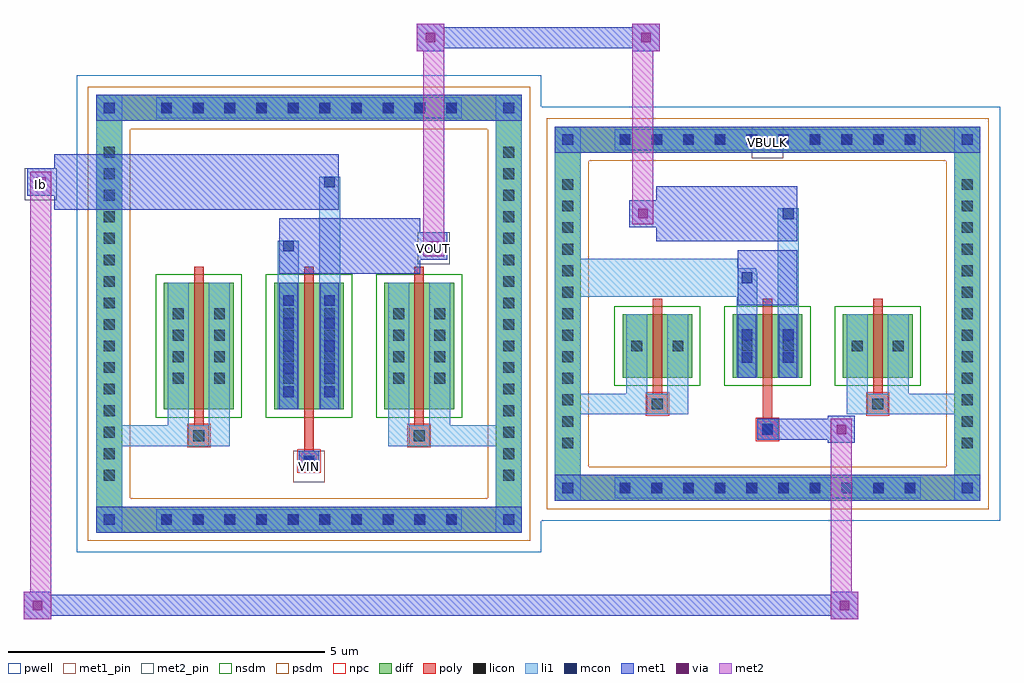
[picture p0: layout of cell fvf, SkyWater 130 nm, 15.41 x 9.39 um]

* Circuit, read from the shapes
.subckt fvf Ib VBULK VIN VOUT
XM1 n1 n1 n1 VSUBS sky130_fd_pr__nfet_01v8 w=2 l=0.15 m=2
XM2 Ib VIN VOUT VSUBS sky130_fd_pr__nfet_01v8 w=2 l=0.15
XM3 VBULK VBULK VBULK VSUBS sky130_fd_pr__nfet_01v8 w=1 l=0.15 m=2
XM4 VOUT Ib VBULK VSUBS sky130_fd_pr__nfet_01v8 w=1 l=0.15
.ends

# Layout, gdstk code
import gdstk
lib = gdstk.Library(unit=1e-6, precision=5e-09)
def R(c, l, rs):  # rectangles x0, y0, x1, y1
    for r in rs: c.add(gdstk.rectangle(r[:2], r[2:], *l))
def A(c, l, x, y, w, h, nx, ny, dx, dy):  # array of equal rectangles
    R(c, l, [(x+i*dx, y+j*dy, x+i*dx+w, y+j*dy+h) for i in range(nx) for j in range(ny)])
def P(c, l, *ps):  # polygons
    for p in ps: c.add(gdstk.Polygon(p, *l))
pwell = (64, 44)
diff = (65, 20)
poly = (66, 20)
licon = (66, 44)
li1 = (67, 20)
mcon = (67, 44)
met1_pin = (68, 16)
met1 = (68, 20)
via = (68, 44)
met2_pin = (69, 16)
met2 = (69, 20)
nsdm = (93, 44)
psdm = (94, 20)
npc = (95, 20)

fvf = lib.new_cell('fvf')
R(fvf, pwell, [(-3.67,-3.765,3.67,3.765), (3.57,-3.265,10.91,3.265)])
A(fvf, diff, -2.455, -3.455, 0.41, 0.41, 10, 2, 0.5, 6.5)
A(fvf, diff, 4.785, -2.955, 0.41, 0.41, 10, 2, 0.5, 5.5)
A(fvf, diff, -3.36, -2.755, 0.41, 0.41, 1, 16, 0, 0.34)
A(fvf, diff, 2.95, -2.755, 0.41, 0.41, 1, 16, 0, 0.34)
A(fvf, diff, 3.88, -2.245, 0.41, 0.41, 1, 13, 0, 0.34)
A(fvf, diff, 10.19, -2.245, 0.41, 0.41, 1, 13, 0, 0.34)
A(fvf, diff, -2.29, -1.51, 1.1, 2, 3, 1, 1.74, 0)
A(fvf, diff, 4.95, -1.01, 1.1, 1, 3, 1, 1.74, 0)
R(fvf, diff, [(-2.455,-3.455,2.455,-3.045), (4.785,-2.955,9.695,-2.545), (-3.36,-2.755,-2.95,2.755), (2.95,-2.755,3.36,2.755), (3.88,-2.245,4.29,2.245), (10.19,-2.245,10.6,2.245), (4.785,2.545,9.695,2.955), (-2.455,3.045,2.455,3.455)])
P(fvf, diff, [(3.36,3.455),(-3.36,3.455),(-3.36,-3.045),(-2.95,-3.045),(-2.95,3.045),(2.95,3.045),(2.95,-3.045),(-2.95,-3.045),(-3.36,-3.045),(-3.36,-3.455),(3.36,-3.455)],
  [(10.6,2.955),(3.88,2.955),(3.88,-2.545),(4.29,-2.545),(4.29,2.545),(10.19,2.545),(10.19,-2.545),(4.29,-2.545),(3.88,-2.545),(3.88,-2.955),(10.6,-2.955)])
A(fvf, poly, -1.815, -1.76, 0.15, 2.5, 3, 1, 1.74, 0)
A(fvf, poly, 5.425, -1.26, 0.15, 1.5, 3, 1, 1.74, 0)
R(fvf, poly, [(-0.165,-2.49,0.165,-2.16), (-0.165,-2.49,0.165,-2.16), (-0.075,-2.16,0.075,-1.76), (-1.905,-2.09,-1.575,-1.76), (-1.905,-2.09,-1.575,-1.76), (1.575,-2.09,1.905,-1.76), (1.575,-2.09,1.905,-1.76), (7.075,-1.99,7.405,-1.66), (7.075,-1.99,7.405,-1.66), (7.165,-1.66,7.315,-1.26), (5.335,-1.59,5.665,-1.26), (5.335,-1.59,5.665,-1.26), (8.815,-1.59,9.145,-1.26), (8.815,-1.59,9.145,-1.26)])
A(fvf, licon, -2.335, -3.335, 0.17, 0.17, 10, 2, 0.5, 6.5)
A(fvf, licon, 4.905, -2.835, 0.17, 0.17, 10, 2, 0.5, 5.5)
A(fvf, licon, -3.24, -2.635, 0.17, 0.17, 1, 16, 0, 0.34)
A(fvf, licon, 3.07, -2.635, 0.17, 0.17, 1, 16, 0, 0.34)
A(fvf, licon, 4, -2.125, 0.17, 0.17, 1, 13, 0, 0.34)
A(fvf, licon, 10.31, -2.125, 0.17, 0.17, 1, 13, 0, 0.34)
A(fvf, licon, -2.15, -1.105, 0.17, 0.17, 1, 4, 0, 0.34)
A(fvf, licon, -1.5, -1.105, 0.17, 0.17, 1, 4, 0, 0.34)
A(fvf, licon, -0.41, -1.105, 0.17, 0.17, 1, 4, 0, 0.34)
A(fvf, licon, 0.24, -1.105, 0.17, 0.17, 1, 4, 0, 0.34)
A(fvf, licon, 1.33, -1.105, 0.17, 0.17, 1, 4, 0, 0.34)
A(fvf, licon, 1.98, -1.105, 0.17, 0.17, 1, 4, 0, 0.34)
R(fvf, licon, [(-0.085,-2.41,0.085,-2.24), (-1.825,-2.01,-1.655,-1.84), (1.655,-2.01,1.825,-1.84), (7.155,-1.91,7.325,-1.74), (5.415,-1.51,5.585,-1.34), (8.895,-1.51,9.065,-1.34), (5.09,-0.595,5.26,-0.425), (5.74,-0.595,5.91,-0.425), (6.83,-0.595,7,-0.425), (7.48,-0.595,7.65,-0.425), (8.57,-0.595,8.74,-0.425), (9.22,-0.595,9.39,-0.425)])
A(fvf, li1, -2.415, -3.415, 0.33, 0.33, 10, 2, 0.5, 6.5)
A(fvf, li1, 4.825, -2.915, 0.33, 0.33, 10, 2, 0.5, 5.5)
A(fvf, li1, -3.32, -2.715, 0.33, 0.33, 1, 16, 0, 0.34)
A(fvf, li1, 2.99, -2.715, 0.33, 0.33, 1, 16, 0, 0.34)
A(fvf, li1, 3.92, -2.205, 0.33, 0.33, 1, 13, 0, 0.34)
A(fvf, li1, 10.23, -2.205, 0.33, 0.33, 1, 13, 0, 0.34)
A(fvf, li1, -0.41, -1.315, 0.17, 0.17, 1, 5, 0, 0.36)
A(fvf, li1, 0.24, -1.315, 0.17, 0.17, 1, 5, 0, 0.36)
A(fvf, li1, -2.23, -1.185, 0.33, 0.33, 1, 4, 0, 0.34)
A(fvf, li1, -1.58, -1.185, 0.33, 0.33, 1, 4, 0, 0.34)
A(fvf, li1, -0.49, -1.185, 0.33, 0.33, 1, 4, 0, 0.34)
A(fvf, li1, 0.16, -1.185, 0.33, 0.33, 1, 4, 0, 0.34)
A(fvf, li1, 1.25, -1.185, 0.33, 0.33, 1, 4, 0, 0.34)
A(fvf, li1, 1.9, -1.185, 0.33, 0.33, 1, 4, 0, 0.34)
R(fvf, li1, [(-3.36,-3.455,-2.95,-3.045), (2.95,-3.455,3.36,-3.045), (-2.415,-3.415,2.415,-3.085), (-3.24,-3.335,-3.07,-3.165), (-3.24,-3.335,-3.07,-3.165), (3.07,-3.335,3.24,-3.165), (3.07,-3.335,3.24,-3.165), (-3.36,-3.045,-2.95,3.045), (2.95,-3.045,3.36,3.045), (3.88,-2.955,4.29,-2.545), (10.19,-2.955,10.6,-2.545), (4.825,-2.915,9.655,-2.585), (4,-2.835,4.17,-2.665), (4,-2.835,4.17,-2.665), (10.31,-2.835,10.48,-2.665), (10.31,-2.835,10.48,-2.665), (3.88,-2.545,4.29,2.545), (10.19,-2.545,10.6,2.545), (-0.165,-2.49,0.165,-2.16), (-3.36,-2.09,-1.905,-1.76), (-2.23,-2.09,-1.905,-1.76), (-2.23,-2.09,-1.9,-1.51), (-1.905,-2.09,-1.575,-1.76), (-1.58,-2.09,-1.25,-1.51), (-1.575,-2.09,-1.25,-1.76), (1.25,-2.09,1.575,-1.76), (1.25,-2.09,1.58,-1.51), (1.575,-2.09,1.905,-1.76), (1.575,-2.09,3.36,-1.76), (1.9,-2.09,2.23,-1.51), (1.905,-2.09,2.23,-1.76), (7.075,-1.99,7.405,-1.66), (3.88,-1.59,5.335,-1.26), (5.01,-1.59,5.335,-1.26), (5.01,-1.59,5.34,-1.01), (5.335,-1.59,5.665,-1.26), (5.66,-1.59,5.99,-1.01), (5.665,-1.59,5.99,-1.26), (8.49,-1.59,8.815,-1.26), (8.49,-1.59,8.82,-1.01), (8.815,-1.59,9.145,-1.26), (8.815,-1.59,10.6,-1.26), (9.14,-1.59,9.47,-1.01), (9.145,-1.59,9.47,-1.26), (-2.23,-1.51,-1.9,0.49), (-1.58,-1.51,-1.25,0.49), (-0.49,-1.51,-0.16,0.49), (0.16,-1.51,0.49,0.49), (1.25,-1.51,1.58,0.49), (1.9,-1.51,2.23,0.49), (-0.41,-1.315,-0.24,0.295), (0.24,-1.315,0.41,0.295), (5.01,-1.01,5.34,-0.01), (5.66,-1.01,5.99,-0.01), (6.75,-1.01,7.08,-0.01), (7.4,-1.01,7.73,-0.01), (8.49,-1.01,8.82,-0.01), (9.14,-1.01,9.47,-0.01), (6.83,-0.775,7,-0.605), (6.83,-0.775,7,-0.245), (7.48,-0.775,7.65,-0.605), (7.48,-0.775,7.65,-0.245), (5.01,-0.675,5.34,-0.345), (5.66,-0.675,5.99,-0.345), (6.75,-0.675,7.08,-0.345), (7.4,-0.675,7.73,-0.345), (8.49,-0.675,8.82,-0.345), (9.14,-0.675,9.47,-0.345), (6.83,-0.415,7,-0.245), (7.48,-0.415,7.65,-0.245), (6.75,-0.01,7.08,0.655), (7.4,-0.01,7.73,1.665), (3.88,0.27,6.77,0.87), (6.77,0.425,7.06,0.715), (6.83,0.485,7,0.655), (6.83,0.485,7,0.655), (-0.49,0.49,-0.16,1.155), (0.16,0.49,0.49,2.165), (-0.41,0.985,-0.24,1.155), (7.48,1.495,7.65,1.665), (0.24,1.995,0.41,2.165), (3.88,2.545,4.29,2.955), (10.19,2.545,10.6,2.955), (4.825,2.585,9.655,2.915), (4,2.665,4.17,2.835), (4,2.665,4.17,2.835), (10.31,2.665,10.48,2.835), (10.31,2.665,10.48,2.835), (-3.36,3.045,-2.95,3.455), (2.95,3.045,3.36,3.455), (-2.415,3.085,2.415,3.415), (-3.24,3.165,-3.07,3.335), (-3.24,3.165,-3.07,3.335), (3.07,3.165,3.24,3.335), (3.07,3.165,3.24,3.335)])
A(fvf, mcon, -2.335, -3.335, 0.17, 0.17, 10, 2, 0.5, 6.5)
A(fvf, mcon, 4.905, -2.835, 0.17, 0.17, 10, 2, 0.5, 5.5)
A(fvf, mcon, -0.41, -1.315, 0.17, 0.17, 1, 5, 0, 0.36)
A(fvf, mcon, 0.24, -1.315, 0.17, 0.17, 1, 5, 0, 0.36)
R(fvf, mcon, [(-3.24,-3.335,-3.07,-3.165), (3.07,-3.335,3.24,-3.165), (4,-2.835,4.17,-2.665), (10.31,-2.835,10.48,-2.665), (-0.085,-2.41,0.085,-2.24), (7.155,-1.91,7.325,-1.74), (6.83,-0.775,7,-0.605), (7.48,-0.775,7.65,-0.605), (6.83,-0.415,7,-0.245), (7.48,-0.415,7.65,-0.245), (6.83,0.485,7,0.655), (6.83,0.485,7,0.655), (-0.41,0.985,-0.24,1.155), (7.48,1.495,7.65,1.665), (0.24,1.995,0.41,2.165), (4,2.665,4.17,2.835), (10.31,2.665,10.48,2.835), (-3.24,3.165,-3.07,3.335), (3.07,3.165,3.24,3.335)])
R(fvf, met1_pin, [(-0.25,-2.66,0.25,-2.16), (6.99,2.455,7.49,2.955)])
A(fvf, met1, -2.395, -3.395, 0.29, 0.29, 10, 2, 0.5, 6.5)
A(fvf, met1, 4.845, -2.895, 0.29, 0.29, 10, 2, 0.5, 5.5)
A(fvf, met1, -0.47, -1.375, 0.29, 0.29, 1, 5, 0, 0.36)
A(fvf, met1, 0.18, -1.375, 0.29, 0.29, 1, 5, 0, 0.36)
R(fvf, met1, [(-4.5,-4.82,-4.07,-4.39), (8.24,-4.82,8.67,-4.39), (-4.5,-4.77,8.67,-4.44), (-4.5,-4.44,-4.07,-4.39), (8.24,-4.44,8.67,-4.39), (-3.36,-3.455,-2.95,-3.045), (-3.36,-3.455,-2.95,-3.045), (-2.95,-3.455,2.95,-3.045), (2.95,-3.455,3.36,-3.045), (2.95,-3.455,3.36,-3.045), (-3.3,-3.395,-3.01,-3.105), (3.01,-3.395,3.3,-3.105), (3.88,-2.955,4.29,-2.545), (3.88,-2.955,4.29,-2.545), (4.29,-2.955,10.19,-2.545), (10.19,-2.955,10.6,-2.545), (10.19,-2.955,10.6,-2.545), (3.94,-2.895,4.23,-2.605), (10.25,-2.895,10.54,-2.605), (-0.165,-2.49,0.165,-2.16), (-0.145,-2.47,0.145,-2.18), (8.19,-2.04,8.62,-1.61), (7.075,-1.99,7.405,-1.66), (7.405,-1.99,8.19,-1.66), (7.095,-1.97,7.385,-1.68), (-0.47,-1.51,-0.18,0.49), (0.18,-1.51,0.47,0.49), (6.77,-1.01,7.06,-0.01), (7.42,-1.01,7.71,-0.01), (6.77,-0.835,7.06,-0.545), (7.42,-0.835,7.71,-0.545), (6.77,-0.475,7.06,-0.185), (7.42,-0.475,7.71,-0.185), (6.77,0.135,7.71,1.005), (6.77,0.425,7.06,0.715), (6.77,0.425,7.06,0.715), (-0.47,0.635,0.47,1.505), (0.47,0.635,1.755,1.505), (1.755,0.855,2.185,1.285), (-0.47,0.925,-0.18,1.215), (5.485,1.145,6.77,2.015), (6.77,1.145,7.71,2.015), (5.055,1.365,5.485,1.795), (7.42,1.435,7.71,1.725), (-4.02,1.645,-0.47,2.515), (-0.47,1.645,0.47,2.515), (-4.45,1.865,-4.02,2.295), (0.18,1.935,0.47,2.225), (3.88,2.545,4.29,2.955), (3.88,2.545,4.29,2.955), (4.29,2.545,10.19,2.955), (10.19,2.545,10.6,2.955), (10.19,2.545,10.6,2.955), (3.94,2.605,4.23,2.895), (10.25,2.605,10.54,2.895), (-3.36,3.045,-2.95,3.455), (-3.36,3.045,-2.95,3.455), (-2.95,3.045,2.95,3.455), (2.95,3.045,3.36,3.455), (2.95,3.045,3.36,3.455), (-3.3,3.105,-3.01,3.395), (3.01,3.105,3.3,3.395), (1.705,4.145,2.135,4.575), (5.105,4.145,5.535,4.575), (1.705,4.195,5.535,4.525), (1.705,4.525,2.135,4.575), (5.105,4.525,5.535,4.575)])
R(fvf, via, [(-4.36,-4.68,-4.21,-4.53), (8.38,-4.68,8.53,-4.53), (8.33,-1.9,8.48,-1.75), (1.895,0.995,2.045,1.145), (5.195,1.505,5.345,1.655), (-4.31,2.005,-4.16,2.155), (1.845,4.285,1.995,4.435), (5.245,4.285,5.395,4.435)])
R(fvf, met2_pin, [(1.72,0.785,2.22,1.285), (-4.485,1.795,-3.985,2.295)])
R(fvf, met2, [(-4.5,-4.82,-4.07,-4.39), (-4.4,-4.82,-4.07,1.915), (8.24,-4.82,8.67,-4.39), (8.24,-4.82,8.57,-1.99), (-4.45,-4.77,-4.12,-4.44), (8.29,-4.77,8.62,-4.44), (8.24,-1.99,8.57,-1.66), (1.805,0.905,2.135,1.235), (1.805,1.235,2.135,4.575), (5.105,1.415,5.435,1.745), (5.105,1.745,5.435,4.575), (-4.4,1.915,-4.07,2.245), (1.705,4.145,2.135,4.575), (5.105,4.145,5.535,4.575), (1.755,4.195,2.085,4.525), (5.155,4.195,5.485,4.525)])
A(fvf, nsdm, -2.42, -1.64, 1.36, 2.26, 3, 1, 1.74, 0)
A(fvf, nsdm, 4.82, -1.14, 1.36, 1.26, 3, 1, 1.74, 0)
P(fvf, psdm, [(3.49,3.585),(-3.49,3.585),(-3.49,-2.915),(-2.82,-2.915),(-2.82,2.915),(2.82,2.915),(2.82,-2.915),(-2.82,-2.915),(-3.49,-2.915),(-3.49,-3.585),(3.49,-3.585)],
  [(10.73,3.085),(3.75,3.085),(3.75,-2.415),(4.42,-2.415),(4.42,2.415),(10.06,2.415),(10.06,-2.415),(4.42,-2.415),(3.75,-2.415),(3.75,-3.085),(10.73,-3.085)])
R(fvf, npc, [(-0.185,-2.51,0.185,-2.14), (-1.925,-2.11,-1.555,-1.74), (1.555,-2.11,1.925,-1.74), (7.055,-2.01,7.425,-1.64), (5.315,-1.61,5.685,-1.24), (8.795,-1.61,9.165,-1.24)])
fvf.add(gdstk.Label('VBULK', (7.24,2.705), layer=68, texttype=5))
fvf.add(gdstk.Label('VIN', (0,-2.41), layer=68, texttype=5))
fvf.add(gdstk.Label('VOUT', (1.97,1.035), layer=69, texttype=5))
fvf.add(gdstk.Label('Ib', (-4.235,2.045), layer=69, texttype=5))

lib.write_gds('fvf.gds')
